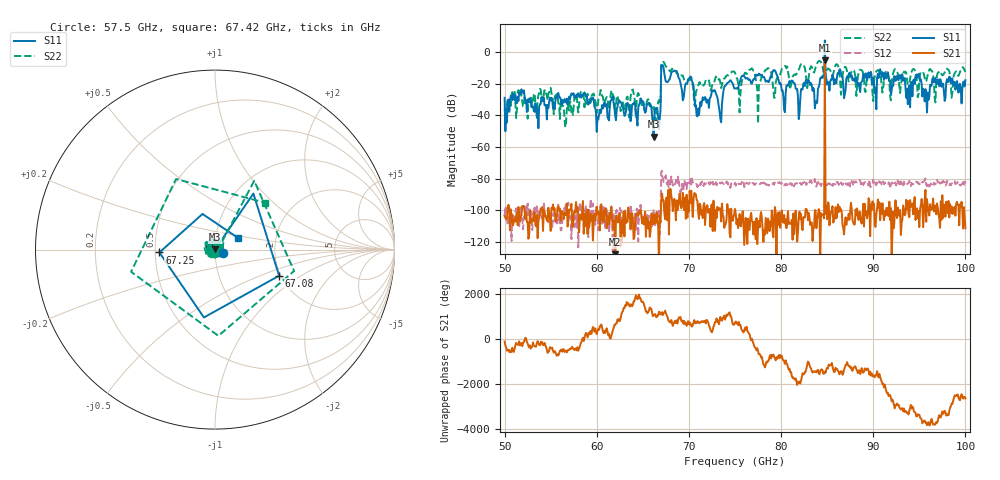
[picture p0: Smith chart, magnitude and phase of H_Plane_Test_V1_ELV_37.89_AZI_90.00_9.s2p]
! 11/27/2026 8:06:55 AM
! C:\ANRITSUVNA\TEMP\TEMP.S2P
! CHANNEL.1
! TR.MEASUREMENT
! RAW.DATA
# HZ S RI R 50.0
! FREQ.HZ  S11RE  S11IM  S21RE  S21IM  S12RE  S12IM  S22RE  S22IM
!; PortSelection: Port_12
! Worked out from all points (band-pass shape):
!   601 points, 50 GHz to 100 GHz, reference 50 ohm
!   highest |S21| = -5.24 dB at 84.75 GHz (marker M1); lowest = -140.0 dB at 62 GHz (marker M2)
!   |S21| within 3 dB of the highest: 84.7475 GHz to 84.75258 GHz (5.078 MHz wide, 0.00599 % of centre)
!   lowest |S11| = -53.6 dB at 66.17 GHz (marker M3), VSWR 1.00, Z = 50.1 + j0.163 ohm
!   |S11| at or under -10 dB: start of sweep to 67 GHz; 67.24 GHz to 84.69 GHz (17.45 GHz wide, 23 % of centre); 84.81 GHz to end of sweep
!   |S22| runs from -47.6 to -5.6 dB; largest |S21 - S12| = 0.55
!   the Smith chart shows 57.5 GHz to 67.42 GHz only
!   S11 on the Smith chart (normalised r, x): 57.5 GHz: 1.09, -0.04; 67.08 GHz: 1.96, -0.67; 67.25 GHz: 0.53, -0.02; 67.42 GHz: 1.29, +0.17
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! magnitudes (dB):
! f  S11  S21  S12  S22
! 50 GHz  -29.0  -103.6  -103.3  -35.7
! 51.67 GHz  -26.2  -107.1  -101.0  -23.1
! 57.5 GHz  -26.1  -103.0  -102.5  -34.4
! 58.42 GHz  -27.1  -99.9  -103.8  -24.6
! 62 GHz  -40.3  -140.0  -109.2  -35.9
! 66.17 GHz  -53.6  -102.9  -99.5  -33.8
! 66.67 GHz  -41.7  -109.9  -103.0  -31.6
! 67.08 GHz  -8.3  -89.5  -75.2  -6.8
! 67.25 GHz  -10.2  -93.8  -82.1  -6.3
! 67.42 GHz  -16.8  -105.7  -78.9  -8.4
! 70.25 GHz  -16.0  -87.7  -83.8  -18.8
! 70.92 GHz  -40.7  -93.9  -85.5  -22.9
! 75 GHz  -23.1  -99.2  -82.6  -13.1
! 79.25 GHz  -11.4  -104.2  -84.0  -29.0
! 80.25 GHz  -27.9  -107.8  -82.6  -9.3
! 83.42 GHz  -24.6  -119.5  -83.5  -10.9
! 84.75 GHz  7.3  -5.2  -81.6  -16.8
! 91.67 GHz  -16.6  -103.7  -82.5  -15.3
! 93.75 GHz  -33.0  -94.1  -83.2  -21.7
! 94.83 GHz  -14.9  -105.1  -82.2  -28.6
! 95.83 GHz  -38.2  -93.0  -84.9  -16.4
! 100 GHz  -17.8  -111.4  -81.5  -12.6
